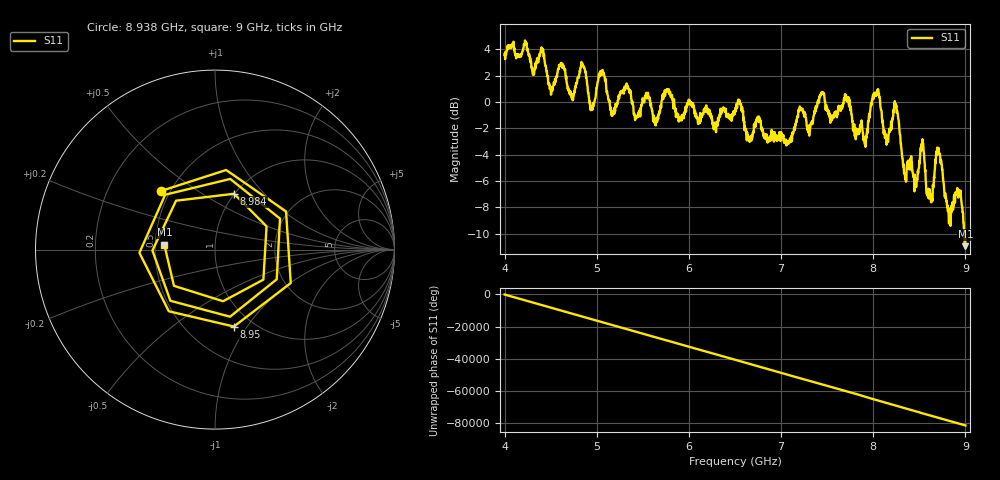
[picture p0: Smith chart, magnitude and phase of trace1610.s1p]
! Created with skrf 1.8.0 (http://scikit-rf.org).
# Hz S RI R 50.0
!freq ReS11 ImS11
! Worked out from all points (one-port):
!   1601 points, 4 GHz to 9 GHz, reference 50 ohm
!   lowest |S11| = -10.9 dB at 9 GHz (marker M1), VSWR 1.79, Z = 27.9 + j1.65 ohm
!   |S11| at or under -10 dB: 8.987673 GHz to 8.989528 GHz (1.855 MHz wide, 0.0206 % of centre); 8.991117 GHz to end of sweep
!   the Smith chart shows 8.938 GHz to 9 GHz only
!   S11 on the Smith chart (normalised r, x): 8.938 GHz: 0.45, +0.36; 8.95 GHz: 0.82, -0.87; 8.984 GHz: 1.00, +0.69; 9 GHz: 0.56, +0.03
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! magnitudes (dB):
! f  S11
! 4 GHz  3.6
! 4.403 GHz  3.9
! 4.506 GHz  0.6
! 4.625 GHz  2.9
! 4.728 GHz  0.3
! 4.856 GHz  2.7
! 4.944 GHz  -0.6
! 5.05 GHz  2.2
! 5.166 GHz  -0.7
! 5.25 GHz  0.5
! 5.875 GHz  -1.0
! 6.5 GHz  -0.6
! 7.125 GHz  -2.5
! 7.441 GHz  0.8
! 7.75 GHz  -0.3
! 7.912 GHz  -2.8
! 8.022 GHz  0.5
! 8.138 GHz  -2.8
! 8.244 GHz  -0.1
! 8.375 GHz  -4.5
! 8.534 GHz  -2.8
! 8.619 GHz  -7.0
! 8.706 GHz  -3.6
! 8.822 GHz  -9.2
! 8.938 GHz  -7.1
! 8.95 GHz  -7.1
! 8.984 GHz  -9.7
! 9 GHz  -10.9
